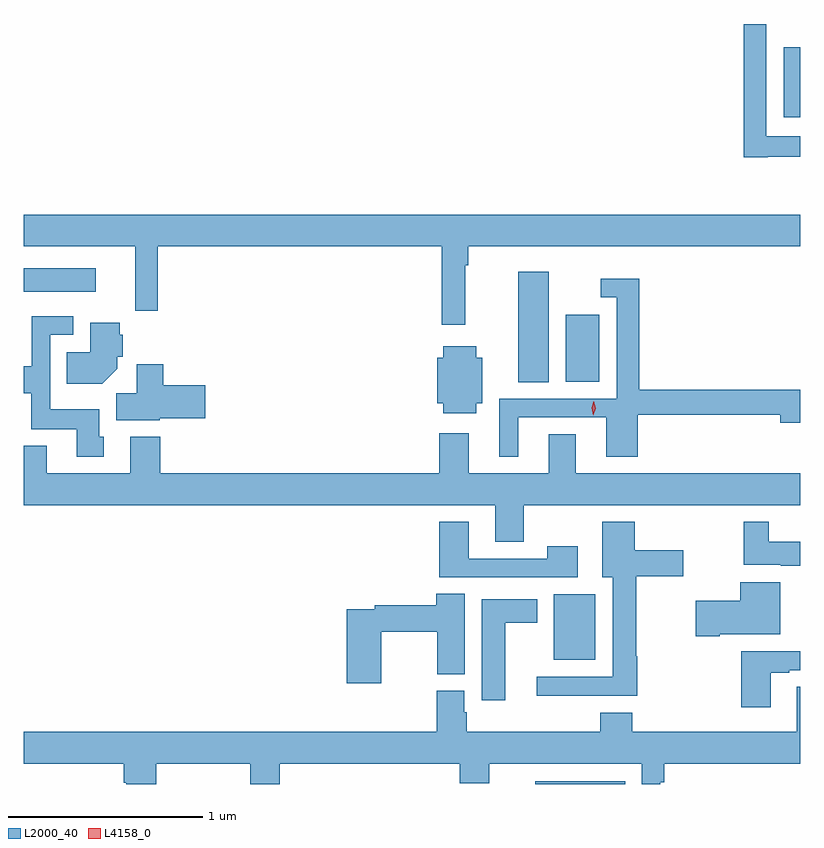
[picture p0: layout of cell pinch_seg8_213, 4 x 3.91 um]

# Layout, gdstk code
import gdstk
lib = gdstk.Library(unit=1e-6, precision=1e-09)
def R(c, l, rs):  # rectangles x0, y0, x1, y1
    for r in rs: c.add(gdstk.rectangle(r[:2], r[2:], *l))
def P(c, l, *ps):  # polygons
    for p in ps: c.add(gdstk.Polygon(p, *l))
L2000_40 = (2000, 40)
L4158_0 = (4158, 0)

pinch_seg8_213 = lib.new_cell('pinch_seg8_213')
R(pinch_seg8_213, L2000_40, [(664.693,1113.732,665.156,1113.747), (664.79,1114.373,665.002,1114.708), (664.607,1115.8,664.762,1116.37), (664.85,1115.804,665.023,1116.148), (662.059,1116.266,662.431,1116.388), (665.972,1117.166,666.059,1117.525)])
P(pinch_seg8_213, L2000_40, [(665.89,1116.962),(666.059,1116.962),(666.059,1117.066),(665.883,1117.066),(665.883,1117.645),(665.767,1117.645),(665.767,1116.96),(665.89,1116.96)],
  [(664.334,1116.404),(664.349,1116.404),(664.349,1116.5),(666.059,1116.5),(666.059,1116.664),(662.059,1116.664),(662.059,1116.5),(662.633,1116.5),(662.633,1116.168),(662.75,1116.168),(662.75,1116.5),(664.213,1116.5),(664.213,1116.096),(664.334,1116.096)],
  [(664.606,1115.619),(665.06,1115.619),(665.06,1115.418),(665.222,1115.418),(665.222,1115.634),(665.954,1115.634),(665.954,1115.591),(666.059,1115.591),(666.059,1115.762),(665.228,1115.762),(665.228,1116.334),(665.031,1116.334),(665.031,1116.237),(665.112,1116.237),(665.112,1115.715),(664.508,1115.715),(664.508,1115.418),(664.606,1115.418)],
  [(662.473,1115.52),(662.449,1115.52),(662.449,1115.662),(662.196,1115.662),(662.196,1116.045),(662.314,1116.045),(662.314,1116.141),(662.1,1116.141),(662.1,1115.884),(662.059,1115.884),(662.059,1115.744),(662.098,1115.744),(662.098,1115.558),(662.333,1115.558),(662.333,1115.418),(662.473,1115.418)],
  [(662.542,1115.87),(662.542,1115.931),(662.571,1115.931),(662.571,1116.045),(662.555,1116.045),(662.555,1116.106),(662.402,1116.106),(662.402,1115.956),(662.281,1115.956),(662.281,1115.792),(662.464,1115.792)],
  [(664.39,1115.693),(664.42,1115.693),(664.42,1115.926),(664.39,1115.926),(664.39,1115.986),(664.22,1115.986),(664.22,1115.926),(664.19,1115.926),(664.19,1115.693),(664.22,1115.693),(664.22,1115.642),(664.39,1115.642)],
  [(662.76,1115.615),(662.995,1115.615),(662.995,1115.786),(662.777,1115.786),(662.777,1115.893),(662.643,1115.893),(662.643,1115.744),(662.537,1115.744),(662.537,1115.606),(662.76,1115.606)],
  [(664.635,1115.168),(666.059,1115.168),(666.059,1115.332),(664.903,1115.332),(664.903,1115.534),(664.763,1115.534),(664.763,1115.332),(664.351,1115.332),(664.351,1115.539),(664.199,1115.539),(664.199,1115.332),(662.762,1115.332),(662.762,1115.521),(662.609,1115.521),(662.609,1115.332),(662.179,1115.332),(662.179,1115.473),(662.059,1115.473),(662.059,1115.168),(664.487,1115.168),(664.487,1114.978),(664.635,1114.978)],
  [(665.219,1114.391),(665.214,1114.391),(665.214,1114.802),(665.455,1114.802),(665.455,1114.936),(665.206,1114.936),(665.206,1115.083),(665.039,1115.083),(665.039,1114.796),(665.093,1114.796),(665.093,1114.284),(664.701,1114.284),(664.701,1114.187),(665.219,1114.187)],
  [(664.912,1114.957),(664.756,1114.957),(664.756,1114.893),(664.351,1114.893),(664.351,1115.083),(664.199,1115.083),(664.199,1114.797),(664.912,1114.797)],
  [(666.059,1114.978),(665.896,1114.978),(665.896,1115.083),(665.767,1115.083),(665.767,1114.862),(665.958,1114.862),(665.958,1114.856),(666.059,1114.856)],
  [(665.643,1114.502),(665.956,1114.502),(665.956,1114.772),(665.75,1114.772),(665.75,1114.676),(665.52,1114.676),(665.52,1114.493),(665.643,1114.493)],
  [(663.9,1114.516),(664.189,1114.516),(664.189,1114.297),(664.33,1114.297),(664.33,1114.712),(664.184,1114.712),(664.184,1114.652),(663.868,1114.652),(663.868,1114.632),(663.722,1114.632),(663.722,1114.251),(663.9,1114.251)],
  [(664.54,1114.562),(664.705,1114.562),(664.705,1114.684),(664.418,1114.684),(664.418,1114.164),(664.54,1114.164)],
  [(665.905,1114.305),(666.001,1114.305),(666.001,1114.317),(666.059,1114.317),(666.059,1114.415),(665.753,1114.415),(665.753,1114.128),(665.905,1114.128)],
  [(662.741,1113.836),(663.227,1113.836),(663.227,1113.732),(663.379,1113.732),(663.379,1113.836),(664.304,1113.836),(664.304,1113.737),(664.456,1113.737),(664.456,1113.836),(665.241,1113.836),(665.241,1113.732),(665.338,1113.732),(665.338,1113.74),(665.357,1113.74),(665.357,1113.836),(666.059,1113.836),(666.059,1114.232),(666.041,1114.232),(666.041,1114),(665.192,1114),(665.192,1114.099),(665.027,1114.099),(665.027,1114),(664.34,1114),(664.34,1114.101),(664.327,1114.101),(664.327,1114.212),(664.187,1114.212),(664.187,1114),(662.059,1114),(662.059,1113.836),(662.576,1113.836),(662.576,1113.738),(662.588,1113.738),(662.588,1113.732),(662.741,1113.732)])
P(pinch_seg8_213, L4158_0, [(664.992,1115.631),(664.992,1115.631),(664.984,1115.668),(664.995,1115.703),(664.995,1115.703),(664.995,1115.703),(665.004,1115.667),(664.992,1115.631)])

lib.write_gds('pinch_seg8_213.gds')
